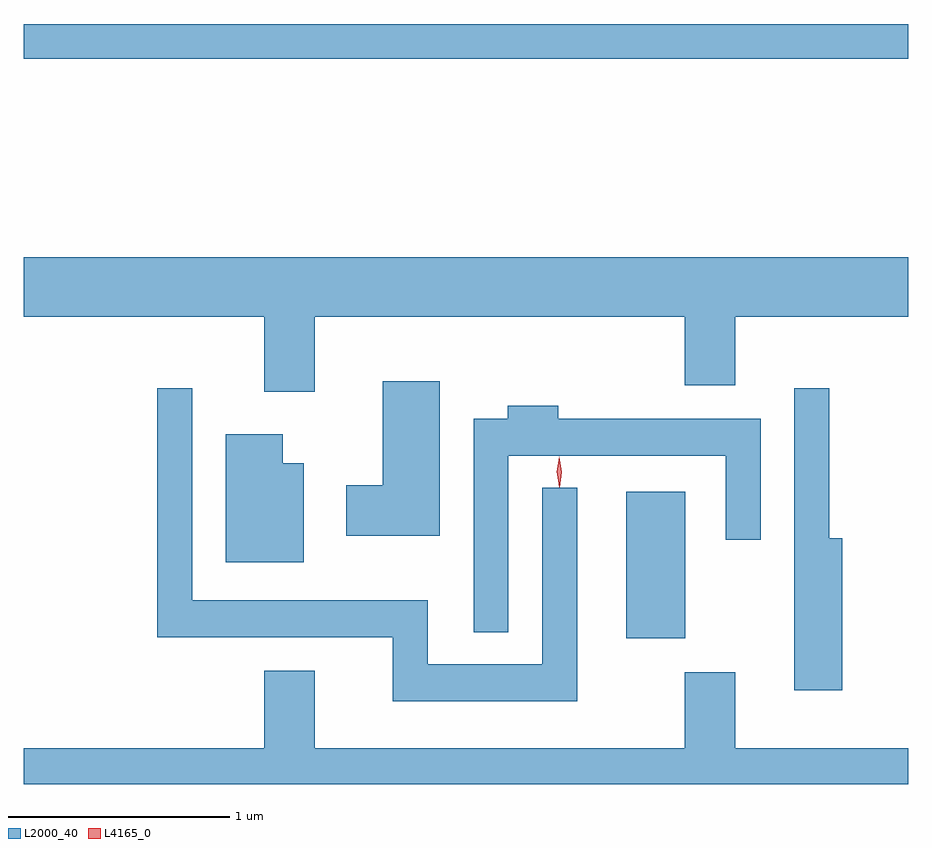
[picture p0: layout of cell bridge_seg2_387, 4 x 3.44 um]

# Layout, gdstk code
import gdstk
lib = gdstk.Library(unit=1e-6, precision=1e-09)
def R(c, l, rs):  # rectangles x0, y0, x1, y1
    for r in rs: c.add(gdstk.rectangle(r[:2], r[2:], *l))
def P(c, l, *ps):  # polygons
    for p in ps: c.add(gdstk.Polygon(p, *l))
L2000_40 = (2000, 40)
L4165_0 = (4165, 0)

bridge_seg2_387 = lib.new_cell('bridge_seg2_387')
R(bridge_seg2_387, L2000_40, [(631.876,1026.881,632.144,1027.544), (629.152,1029.501,633.152,1029.659)])
P(bridge_seg2_387, L2000_40, [(630.469,1028.336),(632.141,1028.336),(632.141,1028.026),(632.369,1028.026),(632.369,1028.336),(633.152,1028.336),(633.152,1028.604),(629.152,1028.604),(629.152,1028.336),(630.241,1028.336),(630.241,1027.996),(630.469,1027.996)],
  [(631.034,1028.044),(630.776,1028.044),(630.776,1027.574),(630.611,1027.574),(630.611,1027.346),(631.034,1027.346)],
  [(631.654,1027.563),(631.496,1027.563),(631.496,1026.764),(630.979,1026.764),(630.979,1027.054),(629.914,1027.054),(629.914,1028.013),(629.756,1028.013),(629.756,1026.886),(630.821,1026.886),(630.821,1026.596),(631.654,1026.596)],
  [(632.854,1027.334),(632.794,1027.334),(632.794,1028.013),(632.636,1028.013),(632.636,1026.646),(632.854,1026.646)],
  [(631.344,1027.706),(632.326,1027.706),(632.326,1027.328),(632.484,1027.328),(632.484,1027.874),(631.569,1027.874),(631.569,1027.934),(631.341,1027.934),(631.341,1027.874),(631.186,1027.874),(631.186,1026.908),(631.344,1026.908)],
  [(630.419,1027.674),(630.324,1027.674),(630.324,1027.804),(630.066,1027.804),(630.066,1027.226),(630.419,1027.226)],
  [(633.152,1026.384),(632.369,1026.384),(632.369,1026.729),(632.141,1026.729),(632.141,1026.384),(630.469,1026.384),(630.469,1026.734),(630.241,1026.734),(630.241,1026.384),(629.152,1026.384),(629.152,1026.223),(633.152,1026.223)])
P(bridge_seg2_387, L4165_0, [(631.574,1027.564),(631.574,1027.564),(631.564,1027.633),(631.573,1027.702),(631.574,1027.703),(631.574,1027.702),(631.584,1027.633),(631.575,1027.564)],
  [(631.573,1027.567),(631.573,1027.568),(631.563,1027.634),(631.573,1027.7),(631.573,1027.701),(631.574,1027.7),(631.583,1027.634),(631.574,1027.568)])

lib.write_gds('bridge_seg2_387.gds')
